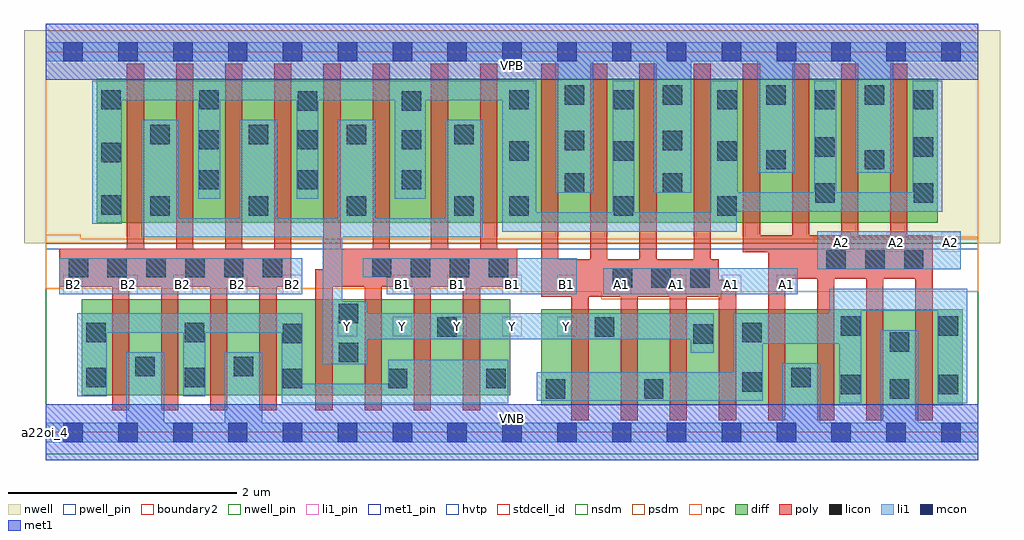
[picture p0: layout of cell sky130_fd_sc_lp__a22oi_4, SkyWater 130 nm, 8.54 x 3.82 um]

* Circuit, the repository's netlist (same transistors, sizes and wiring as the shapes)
* Copyright 2020 The SkyWater PDK Authors
*
* Licensed under the Apache License, Version 2.0 (the "License");
* you may not use this file except in compliance with the License.
* You may obtain a copy of the License at
*
*     https://www.apache.org/licenses/LICENSE-2.0
*
* Unless required by applicable law or agreed to in writing, software
* distributed under the License is distributed on an "AS IS" BASIS,
* WITHOUT WARRANTIES OR CONDITIONS OF ANY KIND, either express or implied.
* See the License for the specific language governing permissions and
* limitations under the License.
*
* SPDX-License-Identifier: Apache-2.0

.SUBCKT sky130_fd_sc_lp__a22oi_4 A1 A2 B1 B2 VGND VNB VPB VPWR Y
*.PININFO A1:I A2:I B1:I B2:I VGND:I VNB:I VPB:I VPWR:I Y:O
MMPA0 pndA A1 VPWR VPB sky130_fd_pr__pfet_01v8_hvt m=4 w=1.26U l=0.15U mult=1 sa=0.265
+ sb=0.265 sd=0.28 area=0.063 perim=1.14
MMPA1 pndA A2 VPWR VPB sky130_fd_pr__pfet_01v8_hvt m=4 w=1.26U l=0.15U mult=1 sa=0.265
+ sb=0.265 sd=0.28 area=0.063 perim=1.14
MMPB0 Y B1 pndA VPB sky130_fd_pr__pfet_01v8_hvt m=4 w=1.26U l=0.15U mult=1 sa=0.265
+ sb=0.265 sd=0.28 area=0.063 perim=1.14
MMPB1 Y B2 pndA VPB sky130_fd_pr__pfet_01v8_hvt m=4 w=1.26U l=0.15U mult=1 sa=0.265
+ sb=0.265 sd=0.28 area=0.063 perim=1.14
MMNA0 Y A1 sndA1 VNB sky130_fd_pr__nfet_01v8 m=4 w=0.84U l=0.15U mult=1 sa=0.265
+ sb=0.265 sd=0.28 area=0.063 perim=1.14
MMNA1 sndA1 A2 VGND VNB sky130_fd_pr__nfet_01v8 m=4 w=0.84U l=0.15U mult=1 sa=0.265
+ sb=0.265 sd=0.28 area=0.063 perim=1.14
MMNB0 Y B1 sndB1 VNB sky130_fd_pr__nfet_01v8 m=4 w=0.84U l=0.15U mult=1 sa=0.265
+ sb=0.265 sd=0.28 area=0.063 perim=1.14
MMNB1 sndB1 B2 VGND VNB sky130_fd_pr__nfet_01v8 m=4 w=0.84U l=0.15U mult=1 sa=0.265
+ sb=0.265 sd=0.28 area=0.063 perim=1.14
.ENDS sky130_fd_sc_lp__a22oi_4

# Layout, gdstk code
import gdstk
lib = gdstk.Library(unit=1e-6, precision=1e-09)
def R(c, l, rs):  # rectangles x0, y0, x1, y1
    for r in rs: c.add(gdstk.rectangle(r[:2], r[2:], *l))
def A(c, l, x, y, w, h, nx, ny, dx, dy):  # array of equal rectangles
    R(c, l, [(x+i*dx, y+j*dy, x+i*dx+w, y+j*dy+h) for i in range(nx) for j in range(ny)])
def P(c, l, *ps):  # polygons
    for p in ps: c.add(gdstk.Polygon(p, *l))
nwell_pin = (64, 16)
nwell = (64, 20)
diff = (65, 20)
poly = (66, 20)
licon = (66, 44)
li1_pin = (67, 16)
li1 = (67, 20)
mcon = (67, 44)
met1_pin = (68, 16)
met1 = (68, 20)
hvtp = (78, 44)
stdcell_id = (81, 4)
nsdm = (93, 44)
psdm = (94, 20)
npc = (95, 20)
pwell_pin = (122, 16)
boundary2 = (236, 0)

sky130_fd_sc_lp__a22oi_4 = lib.new_cell('sky130_fd_sc_lp__a22oi_4')
R(sky130_fd_sc_lp__a22oi_4, nwell_pin, [(0,3.085,8.16,3.33)])
R(sky130_fd_sc_lp__a22oi_4, nwell, [(-0.19,1.655,8.35,3.52)])
R(sky130_fd_sc_lp__a22oi_4, diff, [(4.335,0.235,8.025,1.075), (0.315,0.325,4.065,1.165), (0.445,1.835,7.805,3.095)])
P(sky130_fd_sc_lp__a22oi_4, poly, [(2.15,3.225),(2,3.225),(2,1.605),(1.72,1.605),(1.72,3.225),(1.57,3.225),(1.57,1.605),(1.29,1.605),(1.29,3.225),(1.14,3.225),(1.14,1.605),(0.86,1.605),(0.86,3.225),(0.71,3.225),(0.71,1.605),(0.12,1.605),(0.12,1.275),(0.58,1.275),(0.58,0.195),(0.73,0.195),(0.73,1.275),(1.01,1.275),(1.01,0.195),(1.16,0.195),(1.16,1.275),(1.44,1.275),(1.44,0.195),(1.59,0.195),(1.59,1.275),(1.87,1.275),(1.87,0.195),(2.02,0.195),(2.02,1.275),(2.15,1.275)],
  [(4.125,1.605),(3.95,1.605),(3.95,3.225),(3.8,3.225),(3.8,1.605),(3.52,1.605),(3.52,3.225),(3.37,3.225),(3.37,1.605),(3.01,1.605),(3.01,3.225),(2.86,3.225),(2.86,1.605),(2.58,1.605),(2.58,3.225),(2.43,3.225),(2.43,1.425),(2.36,1.425),(2.36,0.195),(2.51,0.195),(2.51,1.275),(2.79,1.275),(2.79,0.195),(2.94,0.195),(2.94,1.275),(3.22,1.275),(3.22,0.195),(3.37,0.195),(3.37,1.275),(3.65,1.275),(3.65,0.195),(3.8,0.195),(3.8,1.275),(4.125,1.275)],
  [(6.04,1.335),(5.89,1.335),(5.89,1.515),(5.82,1.515),(5.82,3.225),(5.67,3.225),(5.67,1.515),(5.345,1.515),(5.345,3.225),(5.195,3.225),(5.195,1.515),(4.915,1.515),(4.915,3.225),(4.765,3.225),(4.765,1.515),(4.485,1.515),(4.485,3.225),(4.335,3.225),(4.335,1.185),(4.6,1.185),(4.6,0.105),(4.75,0.105),(4.75,1.185),(5.03,1.185),(5.03,0.105),(5.18,0.105),(5.18,1.185),(5.46,1.185),(5.46,0.105),(5.61,0.105),(5.61,1.185),(5.89,1.185),(5.89,0.105),(6.04,0.105)],
  [(7.76,1.725),(7.54,1.725),(7.54,3.225),(7.39,3.225),(7.39,1.725),(7.11,1.725),(7.11,3.225),(6.96,3.225),(6.96,1.725),(6.68,1.725),(6.68,3.225),(6.53,3.225),(6.53,1.725),(6.25,1.725),(6.25,3.225),(6.1,3.225),(6.1,1.575),(6.32,1.575),(6.32,0.105),(6.47,0.105),(6.47,1.345),(6.75,1.345),(6.75,0.105),(6.9,0.105),(6.9,1.345),(7.18,1.345),(7.18,0.105),(7.33,0.105),(7.33,1.345),(7.61,1.345),(7.61,0.105),(7.76,0.105)])
A(sky130_fd_sc_lp__a22oi_4, licon, 4.96, 1.265, 0.17, 0.17, 3, 1, 0.34, 0)
A(sky130_fd_sc_lp__a22oi_4, licon, 0.2, 1.355, 0.17, 0.17, 6, 1, 0.34, 0)
A(sky130_fd_sc_lp__a22oi_4, licon, 2.855, 1.355, 0.17, 0.17, 4, 1, 0.34, 0)
A(sky130_fd_sc_lp__a22oi_4, licon, 6.83, 1.425, 0.17, 0.17, 3, 1, 0.34, 0)
A(sky130_fd_sc_lp__a22oi_4, licon, 0.915, 1.895, 0.17, 0.17, 3, 2, 0.86, 0.625)
A(sky130_fd_sc_lp__a22oi_4, licon, 0.485, 1.905, 0.17, 0.17, 1, 3, 0, 0.46)
A(sky130_fd_sc_lp__a22oi_4, licon, 1.345, 2.125, 0.17, 0.17, 1, 3, 0, 0.35)
A(sky130_fd_sc_lp__a22oi_4, licon, 5.875, 2.825, 0.17, 0.17, 3, 1, 0.86, 0)
R(sky130_fd_sc_lp__a22oi_4, licon, [(4.375,0.295,4.545,0.465), (5.235,0.295,5.405,0.465), (7.385,0.295,7.555,0.465), (6.955,0.335,7.125,0.505), (7.815,0.335,7.985,0.505), (6.095,0.355,6.265,0.525), (2.075,0.385,2.245,0.555), (2.995,0.385,3.165,0.555), (3.855,0.385,4.025,0.555), (0.355,0.395,0.525,0.565), (1.215,0.395,1.385,0.565), (6.525,0.395,6.695,0.565), (0.785,0.49,0.955,0.66), (1.645,0.49,1.815,0.66), (2.565,0.615,2.735,0.785), (7.385,0.705,7.555,0.875), (5.665,0.775,5.835,0.945), (2.075,0.78,2.245,0.95), (0.355,0.79,0.525,0.96), (1.215,0.79,1.385,0.96), (6.095,0.79,6.265,0.96), (3.425,0.835,3.595,1.005), (4.805,0.835,4.975,1.005), (6.955,0.845,7.125,1.015), (7.815,0.845,7.985,1.015), (2.565,0.955,2.735,1.125), (3.575,1.895,3.745,2.065), (4.055,1.895,4.225,2.065), (4.97,1.895,5.14,2.065), (5.875,1.895,6.045,2.065), (6.735,2.01,6.905,2.18), (7.595,2.01,7.765,2.18), (4.54,2.095,4.71,2.265), (5.4,2.095,5.57,2.265), (2.205,2.125,2.375,2.295), (3.115,2.125,3.285,2.295), (6.305,2.3,6.475,2.47), (7.165,2.3,7.335,2.47), (4.055,2.375,4.225,2.545), (4.97,2.375,5.14,2.545), (5.875,2.375,6.045,2.545), (6.735,2.41,6.905,2.58), (7.595,2.41,7.765,2.58), (4.54,2.47,4.71,2.64), (5.4,2.47,5.57,2.64), (2.205,2.475,2.375,2.645), (3.115,2.475,3.285,2.645), (3.575,2.52,3.745,2.69), (2.205,2.815,2.375,2.985), (3.115,2.815,3.285,2.985), (4.055,2.825,4.225,2.995), (4.97,2.825,5.14,2.995), (4.54,2.865,4.71,3.035), (5.4,2.865,5.57,3.035), (6.305,2.865,6.475,3.035), (7.165,2.865,7.335,3.035)])
A(sky130_fd_sc_lp__a22oi_4, li1_pin, 2.555, 0.84, 0.17, 0.17, 5, 1, 0.48, 0)
A(sky130_fd_sc_lp__a22oi_4, li1_pin, 0.155, 1.21, 0.17, 0.17, 5, 1, 0.48, 0)
A(sky130_fd_sc_lp__a22oi_4, li1_pin, 3.035, 1.21, 0.17, 0.17, 8, 1, 0.48, 0)
A(sky130_fd_sc_lp__a22oi_4, li1_pin, 6.875, 1.58, 0.17, 0.17, 3, 1, 0.48, 0)
R(sky130_fd_sc_lp__a22oi_4, li1, [(0.12,1.21,2.245,1.525), (4.88,1.21,6.58,1.435), (6.75,1.425,8.005,1.76)])
P(sky130_fd_sc_lp__a22oi_4, li1, [(4.045,0.635),(2.995,0.635),(2.995,0.425),(2.245,0.425),(2.245,1.04),(0.275,1.04),(0.275,0.315),(0.535,0.315),(0.535,0.87),(1.205,0.87),(1.205,0.315),(1.395,0.315),(1.395,0.87),(2.065,0.87),(2.065,0.255),(4.045,0.255)],
  [(5.845,1.04),(2.815,1.04),(2.815,1.145),(2.595,1.145),(2.595,1.705),(3.825,1.705),(3.825,2.735),(3.495,2.735),(3.495,1.875),(2.885,1.875),(2.885,2.735),(2.555,2.735),(2.555,1.875),(2.025,1.875),(2.025,2.735),(1.695,2.735),(1.695,1.875),(1.165,1.875),(1.165,2.735),(0.835,2.735),(0.835,1.705),(2.425,1.705),(2.425,0.595),(2.815,0.595),(2.815,0.815),(5.645,0.815),(5.645,0.695),(5.845,0.695)],
  [(8.065,1.255),(6.855,1.255),(6.855,1.04),(6.015,1.04),(6.015,0.525),(4.295,0.525),(4.295,0.275),(6.275,0.275),(6.275,0.775),(6.945,0.775),(6.945,0.255),(7.135,0.255),(7.135,1.065),(7.805,1.065),(7.805,0.255),(8.065,0.255)],
  [(4.645,1.525),(2.775,1.525),(2.775,1.355),(2.985,1.355),(2.985,1.21),(4.645,1.21)],
  [(8.16,3.415),(0,3.415),(0,3.245),(4.46,3.245),(4.46,2.095),(4.79,2.095),(4.79,3.245),(5.32,3.245),(5.32,2.095),(5.65,2.095),(5.65,3.245),(6.225,3.245),(6.225,2.27),(6.555,2.27),(6.555,3.245),(7.085,3.245),(7.085,2.27),(7.415,2.27),(7.415,3.245),(8.16,3.245)],
  [(7.845,3.075),(7.585,3.075),(7.585,2.1),(6.915,2.1),(6.915,3.075),(6.725,3.075),(6.725,2.1),(6.055,2.1),(6.055,3.075),(5.82,3.075),(5.82,1.925),(5.15,1.925),(5.15,3.075),(4.96,3.075),(4.96,1.925),(4.29,1.925),(4.29,3.075),(0.405,3.075),(0.405,1.825),(0.665,1.825),(0.665,2.905),(1.335,2.905),(1.335,2.045),(1.525,2.045),(1.525,2.905),(2.195,2.905),(2.195,2.045),(2.385,2.045),(2.385,2.905),(3.055,2.905),(3.055,2.045),(3.325,2.045),(3.325,2.905),(3.995,2.905),(3.995,1.755),(6.045,1.755),(6.045,1.93),(7.845,1.93)],
  [(8.16,0.085),(7.635,0.085),(7.635,0.895),(7.305,0.895),(7.305,0.085),(6.775,0.085),(6.775,0.605),(6.445,0.605),(6.445,0.085),(1.895,0.085),(1.895,0.7),(1.565,0.7),(1.565,0.085),(1.035,0.085),(1.035,0.7),(0.705,0.7),(0.705,0.085),(0,0.085),(0,-0.085),(8.16,-0.085)])
A(sky130_fd_sc_lp__a22oi_4, mcon, 0.155, -0.085, 0.17, 0.17, 17, 2, 0.48, 3.33)
R(sky130_fd_sc_lp__a22oi_4, met1_pin, [(0,0,8.16,0.245), (0,3.085,8.16,3.33)])
R(sky130_fd_sc_lp__a22oi_4, met1, [(0,-0.245,8.16,0.245), (0,3.085,8.16,3.575)])
R(sky130_fd_sc_lp__a22oi_4, hvtp, [(0,1.6,8.16,3.33)])
R(sky130_fd_sc_lp__a22oi_4, stdcell_id, [(0,0,8.16,3.33)])
R(sky130_fd_sc_lp__a22oi_4, nsdm, [(0,-0.19,8.16,1.655)])
P(sky130_fd_sc_lp__a22oi_4, psdm, [(8.16,3.52),(0,3.52),(0,1.655),(6.72,1.655),(6.72,1.705),(8.16,1.705)])
P(sky130_fd_sc_lp__a22oi_4, npc, [(8.16,1.695),(0.305,1.695),(0.305,1.73),(0,1.73),(0,1.255),(4.155,1.255),(4.155,1.23),(4.86,1.23),(4.86,1.165),(5.91,1.165),(5.91,1.23),(8.16,1.23)])
R(sky130_fd_sc_lp__a22oi_4, pwell_pin, [(0,0,8.16,0.245)])
R(sky130_fd_sc_lp__a22oi_4, boundary2, [(0,0,8.16,3.33)])
sky130_fd_sc_lp__a22oi_4.add(gdstk.Label('VNB', (4.08,0.123), layer=64, texttype=59))
sky130_fd_sc_lp__a22oi_4.add(gdstk.Label('VPB', (4.08,3.208), layer=64, texttype=5))
sky130_fd_sc_lp__a22oi_4.add(gdstk.Label('a22oi_4', (0,0), layer=83, texttype=44))
sky130_fd_sc_lp__a22oi_4.add(gdstk.Label('VPWR', (4.08,3.208), layer=68, texttype=5))
sky130_fd_sc_lp__a22oi_4.add(gdstk.Label('VGND', (4.08,0.123), layer=68, texttype=5))
sky130_fd_sc_lp__a22oi_4.add(gdstk.Label('Y', (2.64,0.925), layer=67, texttype=5))
sky130_fd_sc_lp__a22oi_4.add(gdstk.Label('Y', (3.12,0.925), layer=67, texttype=5))
sky130_fd_sc_lp__a22oi_4.add(gdstk.Label('Y', (3.6,0.925), layer=67, texttype=5))
sky130_fd_sc_lp__a22oi_4.add(gdstk.Label('Y', (4.08,0.925), layer=67, texttype=5))
sky130_fd_sc_lp__a22oi_4.add(gdstk.Label('Y', (4.56,0.925), layer=67, texttype=5))
sky130_fd_sc_lp__a22oi_4.add(gdstk.Label('A1', (5.04,1.295), layer=67, texttype=5))
sky130_fd_sc_lp__a22oi_4.add(gdstk.Label('A1', (5.52,1.295), layer=67, texttype=5))
sky130_fd_sc_lp__a22oi_4.add(gdstk.Label('A1', (6,1.295), layer=67, texttype=5))
sky130_fd_sc_lp__a22oi_4.add(gdstk.Label('A1', (6.48,1.295), layer=67, texttype=5))
sky130_fd_sc_lp__a22oi_4.add(gdstk.Label('A2', (6.96,1.665), layer=67, texttype=5))
sky130_fd_sc_lp__a22oi_4.add(gdstk.Label('A2', (7.44,1.665), layer=67, texttype=5))
sky130_fd_sc_lp__a22oi_4.add(gdstk.Label('A2', (7.92,1.665), layer=67, texttype=5))
sky130_fd_sc_lp__a22oi_4.add(gdstk.Label('B1', (3.12,1.295), layer=67, texttype=5))
sky130_fd_sc_lp__a22oi_4.add(gdstk.Label('B1', (3.6,1.295), layer=67, texttype=5))
sky130_fd_sc_lp__a22oi_4.add(gdstk.Label('B1', (4.08,1.295), layer=67, texttype=5))
sky130_fd_sc_lp__a22oi_4.add(gdstk.Label('B1', (4.56,1.295), layer=67, texttype=5))
sky130_fd_sc_lp__a22oi_4.add(gdstk.Label('B2', (0.24,1.295), layer=67, texttype=5))
sky130_fd_sc_lp__a22oi_4.add(gdstk.Label('B2', (0.72,1.295), layer=67, texttype=5))
sky130_fd_sc_lp__a22oi_4.add(gdstk.Label('B2', (1.2,1.295), layer=67, texttype=5))
sky130_fd_sc_lp__a22oi_4.add(gdstk.Label('B2', (1.68,1.295), layer=67, texttype=5))
sky130_fd_sc_lp__a22oi_4.add(gdstk.Label('B2', (2.16,1.295), layer=67, texttype=5))

lib.write_gds('sky130_fd_sc_lp__a22oi_4.gds')
